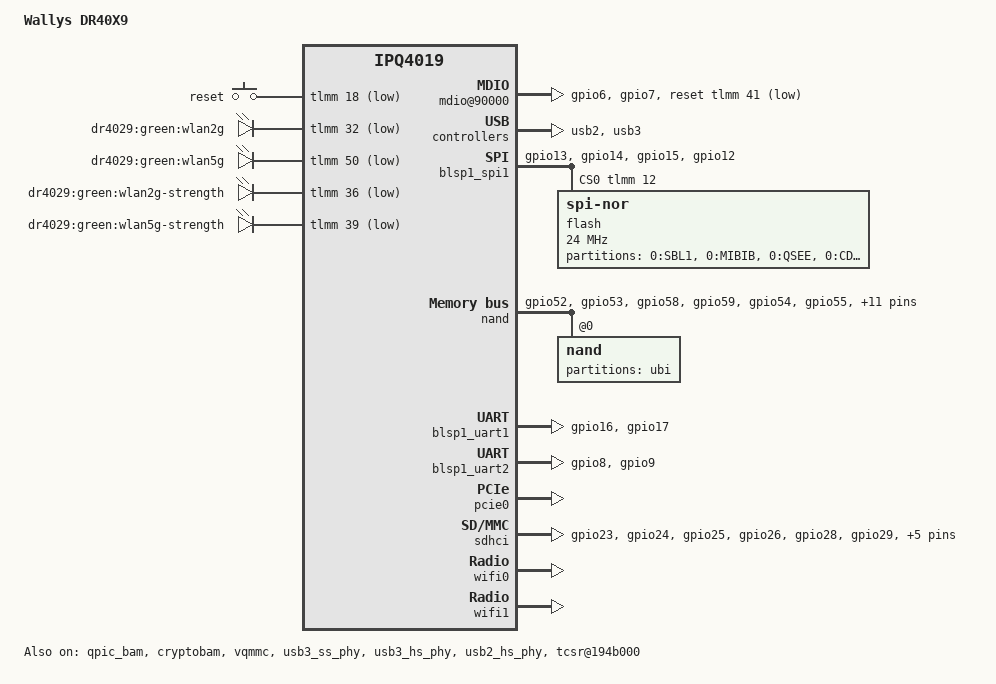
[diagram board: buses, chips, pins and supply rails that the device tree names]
// SPDX-License-Identifier: GPL-2.0-or-later OR MIT

#include "qcom-ipq4019.dtsi"
#include <dt-bindings/gpio/gpio.h>
#include <dt-bindings/input/input.h>
#include <dt-bindings/soc/qcom,tcsr.h>

/ {
	model = "Wallys DR40X9";
	compatible = "wallys,dr40x9";

	chosen {
		bootargs-append = " ubi.mtd=ubi root=/dev/ubiblock0_1";
	};

	soc {
		rng@22000 {
			status = "okay";
		};

		mdio@90000 {
			status = "okay";

			pinctrl-0 = <&mdio_pins>;
			pinctrl-names = "default";
			reset-gpios = <&tlmm 41 GPIO_ACTIVE_LOW>;
			reset-delay-us = <2000>;
		};

		ess-psgmii@98000 {
			status = "okay";
		};

		counter@4a1000 {
			compatible = "qcom,qca-gcnt";
			reg = <0x4a1000 0x4>;
		};

		tcsr@1949000 {
			compatible = "qcom,tcsr";
			reg = <0x1949000 0x100>;
			qcom,wifi_glb_cfg = <TCSR_WIFI_GLB_CFG>;
		};

		tcsr@194b000 {
			status = "okay";

			/* select hostmode */
			compatible = "qcom,tcsr";
			reg = <0x194b000 0x100>;
			qcom,usb-hsphy-mode-select = <TCSR_USB_HSPHY_HOST_MODE>;
		};

		ess_tcsr@1953000 {
			compatible = "qcom,tcsr";
			reg = <0x1953000 0x1000>;
			qcom,ess-interface-select = <TCSR_ESS_PSGMII>;
		};

		tcsr@1957000 {
			compatible = "qcom,tcsr";
			reg = <0x1957000 0x100>;
			qcom,wifi_noc_memtype_m0_m2 = <TCSR_WIFI_NOC_MEMTYPE_M0_M2>;
		};

		usb2: usb2@60f8800 {
			status = "okay";
		};

		usb3: usb3@8af8800 {
			status = "okay";
		};

		crypto@8e3a000 {
			status = "okay";
		};

		watchdog@b017000 {
			status = "okay";
		};

		ess-switch@c000000 {
			status = "okay";
		};

		edma@c080000 {
			status = "okay";
		};
	};

	keys {
		compatible = "gpio-keys";

		reset {
			label = "reset";
			gpios = <&tlmm 18 GPIO_ACTIVE_LOW>;
			linux,code = <KEY_RESTART>;
		};
	};

	leds {
		compatible = "gpio-leds";

		wlan2g {
			label = "dr4029:green:wlan2g";
			gpios = <&tlmm 32 GPIO_ACTIVE_LOW>;
			linux,default-trigger = "phy0tpt";
		};

		wlan5g {
			label = "dr4029:green:wlan5g";
			gpios = <&tlmm 50 GPIO_ACTIVE_LOW>;
			linux,default-trigger = "phy1tpt";
		};

		wlan2g-strength {
			label = "dr4029:green:wlan2g-strength";
			gpios = <&tlmm 36 GPIO_ACTIVE_LOW>;
		};

		wlan5g-strength {
			label = "dr4029:green:wlan5g-strength";
			gpios = <&tlmm 39 GPIO_ACTIVE_LOW>;
		};
	};
};

&tlmm {
	mdio_pins: mdio_pinmux {
		mux_1 {
			pins = "gpio6";
			function = "mdio";
			bias-pull-up;
		};
		mux_2 {
			pins = "gpio7";
			function = "mdc";
			bias-pull-up;
		};
	};

	serial0_pins: serial0_pinmux {
		mux {
			pins = "gpio16", "gpio17";
			function = "blsp_uart0";
			bias-disable;
		};
	};

	serial1_pins: serial1_pinmux {
		mux {
			pins = "gpio8", "gpio9";
			function = "blsp_uart1";
			bias-disable;
		};
	};

	spi_0_pins: spi_0_pinmux {
		pinmux {
			function = "blsp_spi0";
			pins = "gpio13", "gpio14", "gpio15";
			drive-strength = <12>;
			bias-disable;
		};
		pinmux_cs {
			function = "gpio";
			pins = "gpio12";
			drive-strength = <2>;
			bias-disable;
			output-high;
		};
	};

	nand_pins: nand_pins {
		pullups {
			pins =  "gpio52", "gpio53", "gpio58", "gpio59";
			function = "qpic";
			bias-pull-up;
		};

		pulldowns {
			pins = "gpio54", "gpio55", "gpio56", "gpio57",
				"gpio60", "gpio62", "gpio63", "gpio64",
				"gpio65", "gpio66", "gpio67", "gpio68",
				"gpio69";
			function = "qpic";
			bias-pull-down;
		};
	};

	sd_pins: sd_pins {
		pinmux {
			function = "sdio";
			pins = "gpio23", "gpio24", "gpio25", "gpio26",
				"gpio28", "gpio29", "gpio30", "gpio31";
			drive-strength = <10>;
		};
		pinmux_sd_clk {
			function = "sdio";
			pins = "gpio27";
			drive-strength = <16>;
		};
		pinmux_sd7 {
			function = "sdio";
			pins = "gpio32";
			drive-strength = <10>;
			bias-disable;
		};
	};
};

&blsp_dma {
	status = "okay";
};

&blsp1_spi1 {
	status = "okay";

	pinctrl-0 = <&spi_0_pins>;
	pinctrl-names = "default";

	cs-gpios = <&tlmm 12 GPIO_ACTIVE_HIGH>;

	flash@0 {
		compatible = "jedec,spi-nor";
		spi-max-frequency = <24000000>;
		reg = <0>;

		partitions {
			compatible = "fixed-partitions";
			#address-cells = <1>;
			#size-cells = <1>;

			partition0@0 {
				label = "0:SBL1";
				reg = <0x00000000 0x00040000>;
				read-only;
			};

			partition1@40000 {
				label = "0:MIBIB";
				reg = <0x00040000 0x00020000>;
				read-only;
			};

			partition2@60000 {
				label = "0:QSEE";
				reg = <0x00060000 0x00060000>;
				read-only;
			};

			partition3@c0000 {
				label = "0:CDT";
				reg = <0x000c0000 0x00010000>;
				read-only;
			};

			partition4@d0000 {
				label = "0:DDRPARAMS";
				reg = <0x000d0000 0x00010000>;
				read-only;
			};

			partition5@e0000 {
				label = "0:APPSBLENV"; /* uboot env */
				reg = <0x000e0000 0x00010000>;
				read-only;
			};

			partition6@f0000 {
				label = "0:APPSBL"; /* uboot */
				reg = <0x000f0000 0x00080000>;
				read-only;
			};

			partition7@170000 {
				label = "0:ART";
				reg = <0x00170000 0x00010000>;
				read-only;
			};
		};
	};
};

&qpic_bam {
	status = "okay";
};

&nand {
	status = "okay";

	pinctrl-0 = <&nand_pins>;
	pinctrl-names = "default";

	nand@0 {
		partitions {
			compatible = "fixed-partitions";
			#address-cells = <1>;
			#size-cells = <1>;

			partition@0 {
				label = "ubi";
				reg = <0x00000000 0x08000000>;
			};
		};
	};
};

&blsp1_uart1 {
	status = "okay";

	pinctrl-0 = <&serial0_pins>;
	pinctrl-names = "default";
};

&blsp1_uart2 {
	status = "okay";

	pinctrl-0 = <&serial1_pins>;
	pinctrl-names = "default";
};

&cryptobam {
	status = "okay";
};

&pcie0 {
	status = "okay";

	perst-gpio = <&tlmm 38 GPIO_ACTIVE_LOW>;
	wake-gpio = <&tlmm 40 GPIO_ACTIVE_LOW>;

	/* Unpolulated slot */
	bridge@0,0 {
		reg = <0x00000000 0 0 0 0>;
		#address-cells = <3>;
		#size-cells = <2>;
		ranges;
	};
};

&vqmmc {
	status = "okay";
};

&sdhci {
	pinctrl-0 = <&sd_pins>;
	pinctrl-names = "default";
	cd-gpios = <&tlmm 22 GPIO_ACTIVE_LOW>;
	vqmmc-supply = <&vqmmc>;
	status = "okay";
};

&ethphy4 {
	qcom,fiber-enable;
};

&gmac0 {
	qcom,phy_mdio_addr = <3>;
	qcom,poll_required = <1>;
	qcom,forced_speed = <1000>;
	qcom,forced_duplex = <1>;
};

&wifi0 {
	status = "okay";

	qcom,ath10k-calibration-variant = "Wallys-DR40X9";
};

&wifi1 {
	status = "okay";

	qcom,ath10k-calibration-variant = "Wallys-DR40X9";
};

&usb3_ss_phy {
	status = "okay";
};

&usb3_hs_phy {
	status = "okay";
};

&usb2_hs_phy {
	status = "okay";
};
